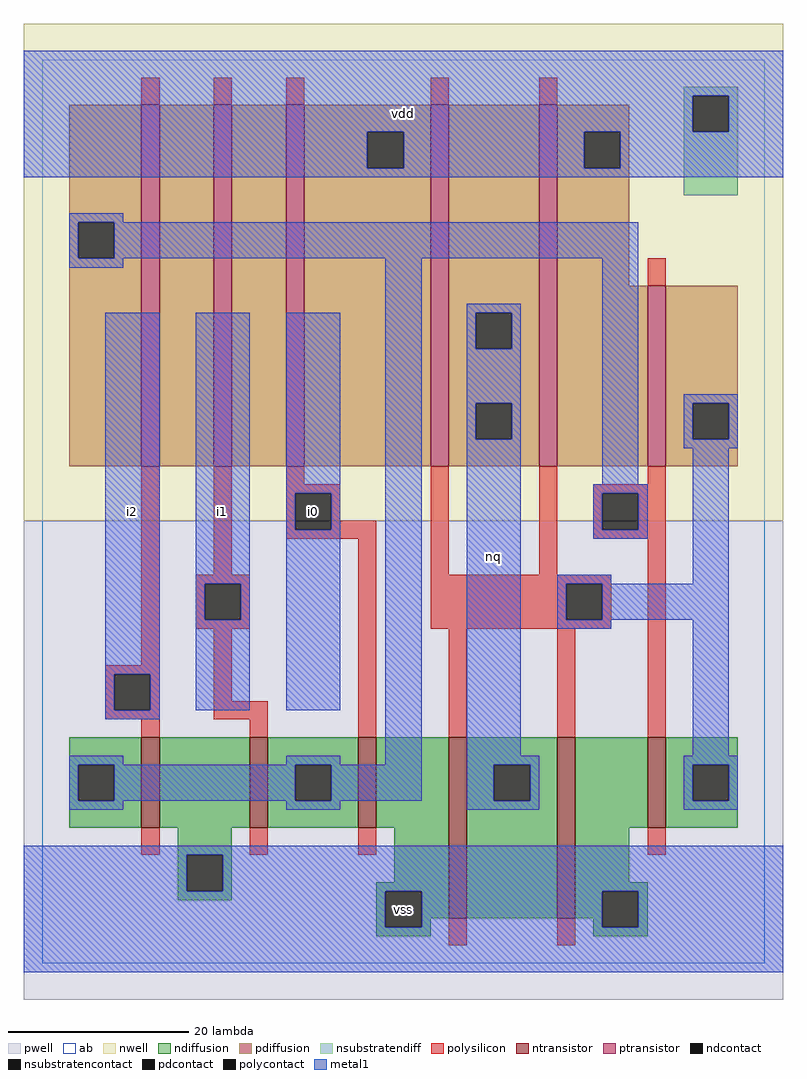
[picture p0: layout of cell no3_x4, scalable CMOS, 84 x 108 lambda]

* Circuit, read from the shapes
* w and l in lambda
.subckt no3_x4 i0 i1 i2 nq vdd vss
M1 vss i2 n1 VSUBS nfet w=10 l=2
M2 n1 i1 vss VSUBS nfet w=10 l=2
M3 vss i0 n1 VSUBS nfet w=10 l=2
M4 nq n2 vss VSUBS nfet w=20 l=2 m=2
M5 n2 n1 vss VSUBS nfet w=10 l=2
M6 n3 i2 n1 vdd pfet w=40 l=2
M7 n4 i1 n3 vdd pfet w=40 l=2
M8 vdd i0 n4 vdd pfet w=40 l=2
M9 nq n2 vdd vdd pfet w=40 l=2 m=2
M10 n2 n1 vdd vdd pfet w=20 l=2
.ends

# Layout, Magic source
magic
tech scmos
<< ab >>
rect 0 0 80 100
<< pwell >>
rect -2 -4 82 49
<< nwell >>
rect -2 49 82 104
<< polysilicon >>
rect 11 95 13 98
rect 19 95 21 98
rect 27 95 29 98
rect 43 95 45 98
rect 55 95 57 98
rect 67 75 69 78
rect 11 33 13 55
rect 19 43 21 55
rect 27 53 29 55
rect 27 52 33 53
rect 27 48 28 52
rect 32 49 33 52
rect 32 48 37 49
rect 27 47 37 48
rect 17 42 23 43
rect 17 38 18 42
rect 22 38 23 42
rect 17 37 23 38
rect 7 32 13 33
rect 7 28 8 32
rect 12 28 13 32
rect 7 27 13 28
rect 19 29 21 37
rect 19 27 25 29
rect 11 25 13 27
rect 23 25 25 27
rect 35 25 37 47
rect 43 43 45 55
rect 55 43 57 55
rect 67 53 69 55
rect 61 52 69 53
rect 61 48 62 52
rect 66 48 69 52
rect 61 47 69 48
rect 43 42 63 43
rect 43 38 58 42
rect 62 38 63 42
rect 43 37 63 38
rect 45 25 47 37
rect 57 25 59 37
rect 67 25 69 47
rect 11 12 13 15
rect 23 12 25 15
rect 35 12 37 15
rect 67 12 69 15
rect 45 2 47 5
rect 57 2 59 5
<< ndiffusion >>
rect 3 22 11 25
rect 3 18 4 22
rect 8 18 11 22
rect 3 15 11 18
rect 13 15 23 25
rect 25 22 35 25
rect 25 18 28 22
rect 32 18 35 22
rect 25 15 35 18
rect 37 15 45 25
rect 15 12 21 15
rect 15 8 16 12
rect 20 8 21 12
rect 39 9 45 15
rect 15 7 21 8
rect 37 8 45 9
rect 37 4 38 8
rect 42 5 45 8
rect 47 22 57 25
rect 47 18 50 22
rect 54 18 57 22
rect 47 5 57 18
rect 59 15 67 25
rect 69 22 77 25
rect 69 18 72 22
rect 76 18 77 22
rect 69 15 77 18
rect 59 9 65 15
rect 59 8 67 9
rect 59 5 62 8
rect 42 4 43 5
rect 37 3 43 4
rect 61 4 62 5
rect 66 4 67 8
rect 61 3 67 4
<< pdiffusion >>
rect 3 82 11 95
rect 3 78 4 82
rect 8 78 11 82
rect 3 55 11 78
rect 13 55 19 95
rect 21 55 27 95
rect 29 92 43 95
rect 29 88 36 92
rect 40 88 43 92
rect 29 55 43 88
rect 45 72 55 95
rect 45 68 48 72
rect 52 68 55 72
rect 45 62 55 68
rect 45 58 48 62
rect 52 58 55 62
rect 45 55 55 58
rect 57 92 65 95
rect 57 88 60 92
rect 64 88 65 92
rect 57 75 65 88
rect 57 55 67 75
rect 69 62 77 75
rect 69 58 72 62
rect 76 58 77 62
rect 69 55 77 58
<< metal1 >>
rect -2 96 82 101
rect -2 92 72 96
rect 76 92 82 96
rect -2 88 36 92
rect 40 88 60 92
rect 64 88 82 92
rect -2 87 82 88
rect 3 82 9 83
rect 3 78 4 82
rect 8 78 66 82
rect 3 77 9 78
rect 7 32 13 72
rect 7 28 8 32
rect 12 28 13 32
rect 17 42 23 72
rect 17 38 18 42
rect 22 38 23 42
rect 17 28 23 38
rect 27 52 33 72
rect 27 48 28 52
rect 32 48 33 52
rect 27 28 33 48
rect 7 27 13 28
rect 3 22 9 23
rect 27 22 33 23
rect 38 22 42 78
rect 3 18 4 22
rect 8 18 28 22
rect 32 18 42 22
rect 47 72 53 73
rect 47 68 48 72
rect 52 68 53 72
rect 47 62 53 68
rect 47 58 48 62
rect 52 58 53 62
rect 47 23 53 58
rect 62 53 66 78
rect 71 62 77 63
rect 71 58 72 62
rect 76 58 77 62
rect 71 57 77 58
rect 61 52 67 53
rect 61 48 62 52
rect 66 48 67 52
rect 61 47 67 48
rect 57 42 63 43
rect 72 42 76 57
rect 57 38 58 42
rect 62 38 76 42
rect 57 37 63 38
rect 72 23 76 38
rect 47 22 55 23
rect 47 18 50 22
rect 54 18 55 22
rect 3 17 9 18
rect 27 17 33 18
rect 47 17 55 18
rect 71 22 77 23
rect 71 18 72 22
rect 76 18 77 22
rect 71 17 77 18
rect -2 12 82 13
rect -2 8 16 12
rect 20 8 82 12
rect -2 4 38 8
rect 42 4 62 8
rect 66 4 82 8
rect -2 -1 82 4
<< ntransistor >>
rect 11 15 13 25
rect 23 15 25 25
rect 35 15 37 25
rect 45 5 47 25
rect 57 5 59 25
rect 67 15 69 25
<< ptransistor >>
rect 11 55 13 95
rect 19 55 21 95
rect 27 55 29 95
rect 43 55 45 95
rect 55 55 57 95
rect 67 55 69 75
<< polycontact >>
rect 28 48 32 52
rect 18 38 22 42
rect 8 28 12 32
rect 62 48 66 52
rect 58 38 62 42
<< ndcontact >>
rect 4 18 8 22
rect 28 18 32 22
rect 16 8 20 12
rect 38 4 42 8
rect 50 18 54 22
rect 72 18 76 22
rect 62 4 66 8
<< pdcontact >>
rect 4 78 8 82
rect 36 88 40 92
rect 48 68 52 72
rect 48 58 52 62
rect 60 88 64 92
rect 72 58 76 62
<< nsubstratencontact >>
rect 72 92 76 96
<< nsubstratendiff >>
rect 71 96 77 97
rect 71 92 72 96
rect 76 92 77 96
rect 71 85 77 92
<< labels >>
rlabel metal1 10 50 10 50 6 i2
rlabel metal1 10 50 10 50 6 i2
rlabel polycontact 30 50 30 50 6 i0
rlabel polycontact 30 50 30 50 6 i0
rlabel metal1 20 50 20 50 6 i1
rlabel metal1 20 50 20 50 6 i1
rlabel ndcontact 40 6 40 6 6 vss
rlabel ndcontact 40 6 40 6 6 vss
rlabel metal1 50 45 50 45 6 nq
rlabel metal1 50 45 50 45 6 nq
rlabel metal1 40 94 40 94 6 vdd
rlabel metal1 40 94 40 94 6 vdd
<< end >>
